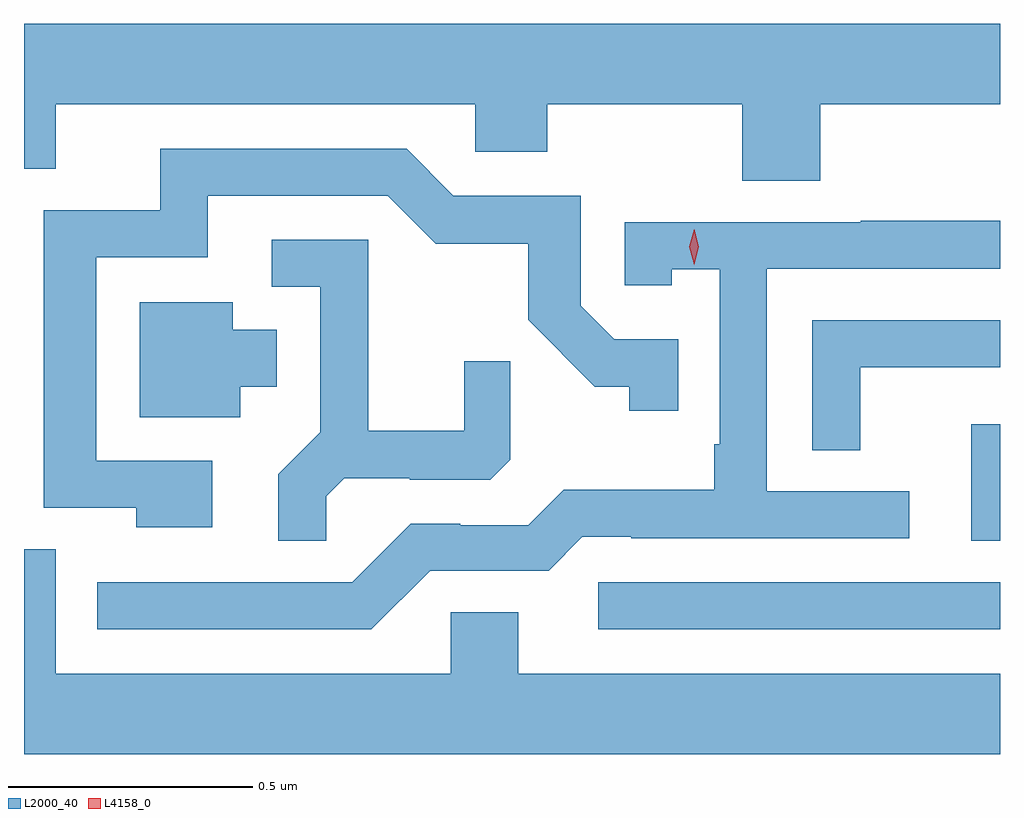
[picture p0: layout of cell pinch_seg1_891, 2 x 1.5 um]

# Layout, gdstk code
import gdstk
lib = gdstk.Library(unit=1e-6, precision=1e-09)
def R(c, l, rs):  # rectangles x0, y0, x1, y1
    for r in rs: c.add(gdstk.rectangle(r[:2], r[2:], *l))
def P(c, l, *ps):  # polygons
    for p in ps: c.add(gdstk.Polygon(p, *l))
L2000_40 = (2000, 40)
L4158_0 = (4158, 0)

pinch_seg1_891 = lib.new_cell('pinch_seg1_891')
R(pinch_seg1_891, L2000_40, [(468.621,533.34,469.444,533.436), (469.385,533.521,469.444,533.76)])
P(pinch_seg1_891, L2000_40, [(469.076,534.416),(469.444,534.416),(469.444,534.58),(467.444,534.58),(467.444,534.283),(467.509,534.283),(467.509,534.416),(468.369,534.416),(468.369,534.318),(468.516,534.318),(468.516,534.416),(468.916,534.416),(468.916,534.259),(469.076,534.259)],
  [(467.83,533.685),(467.592,533.685),(467.592,534.102),(467.821,534.102),(467.821,534.228),(468.189,534.228),(468.288,534.13),(468.477,534.13),(468.477,533.974),(468.614,533.837),(468.684,533.837),(468.684,533.787),(468.785,533.787),(468.785,533.934),(468.654,533.934),(468.585,534.003),(468.585,534.228),(468.324,534.228),(468.228,534.324),(467.723,534.324),(467.723,534.198),(467.484,534.198),(467.484,533.589),(467.674,533.589),(467.674,533.549),(467.83,533.549)],
  [(468.276,533.46),(468.519,533.46),(468.588,533.529),(468.688,533.529),(468.688,533.526),(469.258,533.526),(469.258,533.622),(468.966,533.622),(468.966,534.078),(469.444,534.078),(469.444,534.177),(469.159,534.177),(469.159,534.174),(468.675,534.174),(468.675,534.045),(468.771,534.045),(468.771,534.077),(468.87,534.077),(468.87,533.719),(468.858,533.719),(468.858,533.626),(468.55,533.626),(468.477,533.553),(468.338,533.553),(468.338,533.556),(468.237,533.556),(468.117,533.436),(467.594,533.436),(467.594,533.34),(468.156,533.34)],
  [(468.063,533.612),(468.1,533.649),(468.234,533.649),(468.234,533.646),(468.399,533.646),(468.44,533.687),(468.44,533.889),(468.346,533.889),(468.346,533.746),(468.149,533.746),(468.149,534.138),(467.952,534.138),(467.952,534.042),(468.051,534.042),(468.051,533.743),(467.965,533.657),(467.965,533.521),(468.063,533.521)],
  [(467.887,533.837),(467.962,533.837),(467.962,533.953),(467.872,533.953),(467.872,534.01),(467.681,534.01),(467.681,533.774),(467.887,533.774)],
  [(469.158,533.877),(469.444,533.877),(469.444,533.973),(469.059,533.973),(469.059,533.707),(469.158,533.707)],
  [(469.444,533.248),(468.457,533.248),(468.457,533.375),(468.318,533.375),(468.318,533.248),(467.509,533.248),(467.509,533.504),(467.444,533.504),(467.444,533.084),(469.444,533.084)])
P(pinch_seg1_891, L4158_0, [(468.817,534.087),(468.817,534.087),(468.807,534.123),(468.817,534.159),(468.817,534.159),(468.817,534.159),(468.827,534.123),(468.817,534.087)])

lib.write_gds('pinch_seg1_891.gds')
